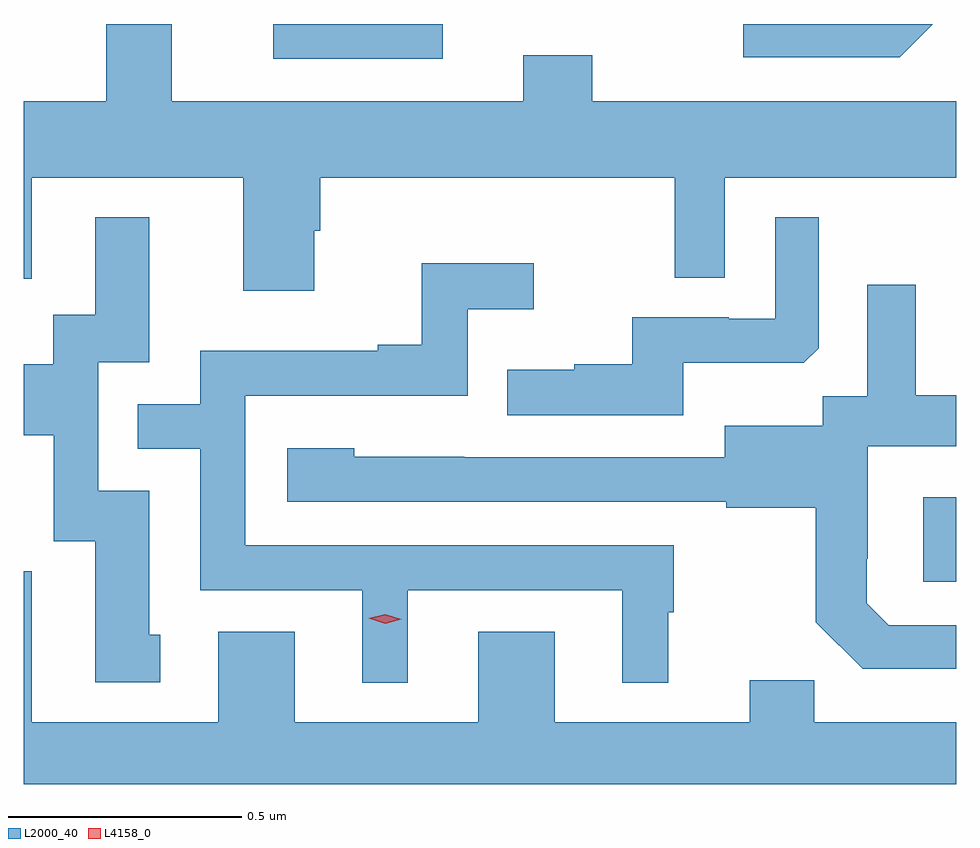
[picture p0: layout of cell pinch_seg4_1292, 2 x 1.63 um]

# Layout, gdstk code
import gdstk
lib = gdstk.Library(unit=1e-6, precision=1e-09)
def R(c, l, rs):  # rectangles x0, y0, x1, y1
    for r in rs: c.add(gdstk.rectangle(r[:2], r[2:], *l))
def P(c, l, *ps):  # polygons
    for p in ps: c.add(gdstk.Polygon(p, *l))
L2000_40 = (2000, 40)
L4158_0 = (4158, 0)

pinch_seg4_1292 = lib.new_cell('pinch_seg4_1292')
R(pinch_seg4_1292, L2000_40, [(171.533,749.334,171.604,749.515), (170.139,750.456,170.503,750.53)])
P(pinch_seg4_1292, L2000_40, [(171.554,750.53),(171.147,750.53),(171.147,750.459),(171.483,750.459)],
  [(170.227,750.087),(170.24,750.087),(170.24,750.2),(171,750.2),(171,749.986),(171.108,749.986),(171.108,750.2),(171.604,750.2),(171.604,750.364),(170.823,750.364),(170.823,750.463),(170.675,750.463),(170.675,750.364),(169.921,750.364),(169.921,750.53),(169.781,750.53),(169.781,750.364),(169.604,750.364),(169.604,749.984),(169.621,749.984),(169.621,750.2),(170.075,750.2),(170.075,749.958),(170.227,749.958)],
  [(169.897,749.22),(169.873,749.22),(169.873,749.529),(169.764,749.529),(169.764,749.805),(169.873,749.805),(169.873,750.115),(169.757,750.115),(169.757,749.906),(169.667,749.906),(169.667,749.8),(169.604,749.8),(169.604,749.648),(169.668,749.648),(169.668,749.421),(169.757,749.421),(169.757,749.118),(169.897,749.118)],
  [(171.019,749.804),(171.277,749.804),(171.309,749.835),(171.309,750.115),(171.216,750.115),(171.216,749.898),(171.116,749.898),(171.116,749.901),(170.909,749.901),(170.909,749.8),(170.785,749.8),(170.785,749.788),(170.641,749.788),(170.641,749.691),(171.019,749.691)],
  [(170.428,749.316),(170.888,749.316),(170.888,749.117),(170.986,749.117),(170.986,749.268),(170.998,749.268),(170.998,749.412),(170.079,749.412),(170.079,749.733),(170.556,749.733),(170.556,749.918),(170.698,749.918),(170.698,750.017),(170.458,750.017),(170.458,749.842),(170.363,749.842),(170.363,749.829),(169.983,749.829),(169.983,749.715),(169.849,749.715),(169.849,749.619),(169.983,749.619),(169.983,749.316),(170.33,749.316),(170.33,749.117),(170.428,749.117)],
  [(171.604,749.241),(171.459,749.241),(171.412,749.288),(171.412,749.383),(171.414,749.383),(171.414,749.624),(171.604,749.624),(171.604,749.734),(171.517,749.734),(171.517,749.971),(171.413,749.971),(171.413,749.732),(171.318,749.732),(171.318,749.668),(171.107,749.668),(171.107,749.601),(170.549,749.601),(170.549,749.602),(170.313,749.602),(170.313,749.62),(170.169,749.62),(170.169,749.505),(171.111,749.505),(171.111,749.493),(171.303,749.493),(171.303,749.247),(171.403,749.147),(171.604,749.147)],
  [(171.604,749.032),(171.299,749.032),(171.299,749.123),(171.161,749.123),(171.161,749.032),(170.743,749.032),(170.743,749.227),(170.579,749.227),(170.579,749.032),(170.185,749.032),(170.185,749.227),(170.021,749.227),(170.021,749.032),(169.621,749.032),(169.621,749.356),(169.604,749.356),(169.604,748.9),(171.604,748.9)])
P(pinch_seg4_1292, L4158_0, [(170.379,749.244),(170.344,749.255),(170.344,749.255),(170.344,749.256),(170.379,749.264),(170.414,749.253),(170.415,749.253),(170.414,749.253)])

lib.write_gds('pinch_seg4_1292.gds')
